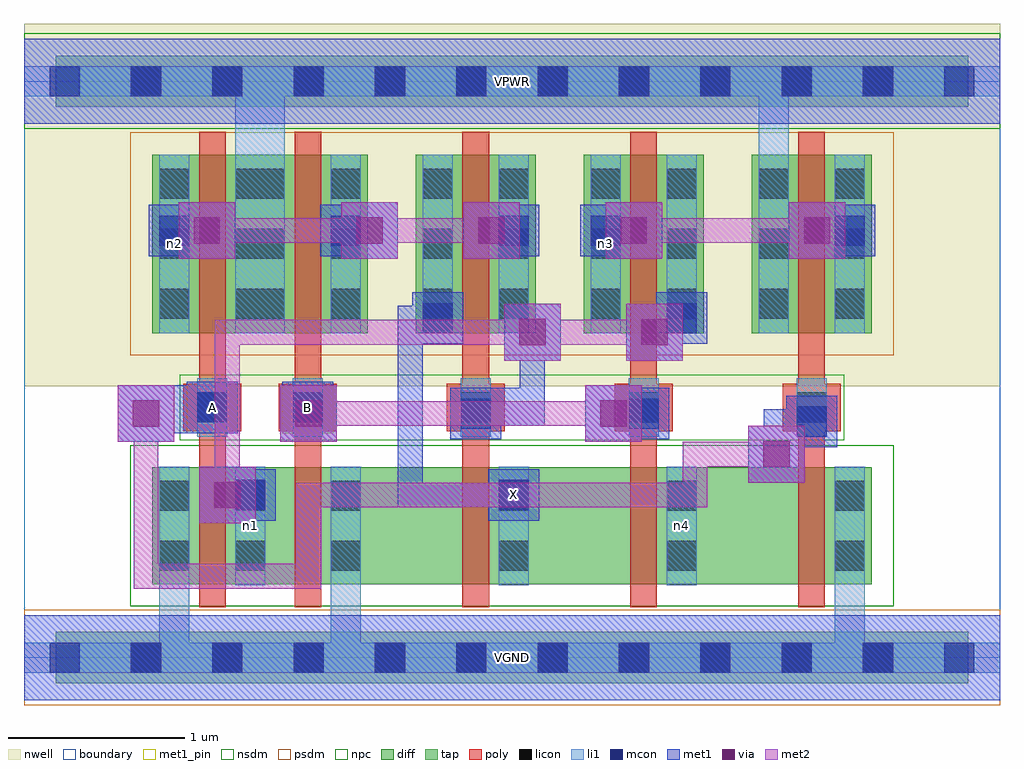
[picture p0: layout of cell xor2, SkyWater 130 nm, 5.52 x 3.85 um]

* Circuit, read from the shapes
.subckt xor2 A B VGND VPWR X n1 n2 n3 n4
XM1 n1 A VGND VGND sky130_fd_pr__nfet_01v8 w=0.66 l=0.15
XM2 VGND B n1 VGND sky130_fd_pr__nfet_01v8 w=0.66 l=0.15
XM3 X n1 VGND VGND sky130_fd_pr__nfet_01v8 w=0.66 l=0.15
XM4 n4 B X VGND sky130_fd_pr__nfet_01v8 w=0.66 l=0.15
XM5 VGND A n4 VGND sky130_fd_pr__nfet_01v8 w=0.66 l=0.15
XM6 VPWR A n2 VPWR sky130_fd_pr__pfet_01v8 w=1.01 l=0.15
XM7 n2 B VPWR VPWR sky130_fd_pr__pfet_01v8 w=1.01 l=0.15
XM8 n2 n1 X VPWR sky130_fd_pr__pfet_01v8 w=1.01 l=0.15
XM9 n1 B n3 VPWR sky130_fd_pr__pfet_01v8 w=1.01 l=0.15
XM10 n3 A VPWR VPWR sky130_fd_pr__pfet_01v8 w=1.01 l=0.15
.ends

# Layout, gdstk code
import gdstk
lib = gdstk.Library(unit=1e-6, precision=1e-09)
def R(c, l, rs):  # rectangles x0, y0, x1, y1
    for r in rs: c.add(gdstk.rectangle(r[:2], r[2:], *l))
def A(c, l, x, y, w, h, nx, ny, dx, dy):  # array of equal rectangles
    R(c, l, [(x+i*dx, y+j*dy, x+i*dx+w, y+j*dy+h) for i in range(nx) for j in range(ny)])
nwell = (64, 20)
diff = (65, 20)
tap = (65, 44)
poly = (66, 20)
licon = (66, 44)
li1 = (67, 20)
mcon = (67, 44)
met1_pin = (68, 16)
met1 = (68, 20)
via = (68, 44)
met2 = (69, 20)
nsdm = (93, 44)
psdm = (94, 20)
npc = (95, 20)
boundary = (235, 4)

xor2 = lib.new_cell('xor2')
R(xor2, nwell, [(0,1.535,5.52,3.585)])
A(xor2, diff, 1.265, 1.835, 0.68, 1.01, 4, 1, 0.95, 0)
R(xor2, diff, [(0.725,0.415,4.795,1.075), (0.725,1.835,1.405,2.845)])
R(xor2, tap, [(0.18,-0.145,5.34,0.145), (0.18,3.115,5.34,3.405)])
A(xor2, poly, 1.53, 0.285, 0.15, 2.69, 4, 1, 0.95, 0)
A(xor2, poly, 1.44, 1.28, 0.33, 0.27, 4, 1, 0.95, 0)
R(xor2, poly, [(0.99,0.285,1.14,2.975), (0.9,1.28,1.23,1.55)])
A(xor2, licon, 0.605, -0.085, 0.17, 0.17, 10, 2, 0.46, 3.26)
A(xor2, licon, 1.735, 0.49, 0.17, 0.17, 4, 2, 0.95, 0.34)
A(xor2, licon, 1.52, 1.33, 0.17, 0.17, 4, 1, 0.95, 0)
A(xor2, licon, 0.765, 1.915, 0.17, 0.17, 1, 3, 0, 0.34)
A(xor2, licon, 1.195, 1.915, 0.17, 0.17, 1, 3, 0, 0.34)
A(xor2, licon, 1.305, 1.915, 0.17, 0.17, 1, 3, 0, 0.34)
A(xor2, licon, 1.735, 1.915, 0.17, 0.17, 1, 3, 0, 0.34)
A(xor2, licon, 2.255, 1.915, 0.17, 0.17, 1, 3, 0, 0.34)
A(xor2, licon, 2.685, 1.915, 0.17, 0.17, 1, 3, 0, 0.34)
A(xor2, licon, 3.205, 1.915, 0.17, 0.17, 1, 3, 0, 0.34)
A(xor2, licon, 3.635, 1.915, 0.17, 0.17, 1, 3, 0, 0.34)
A(xor2, licon, 4.155, 1.915, 0.17, 0.17, 1, 3, 0, 0.34)
A(xor2, licon, 4.585, 1.915, 0.17, 0.17, 1, 3, 0, 0.34)
R(xor2, licon, [(0.765,0.49,0.935,0.66), (1.195,0.49,1.365,0.66), (0.765,0.83,0.935,1), (1.195,0.83,1.365,1), (0.98,1.33,1.15,1.5)])
A(xor2, li1, 1.735, 0.41, 0.17, 0.67, 4, 1, 0.95, 0)
A(xor2, li1, 1.52, 1.25, 0.17, 0.33, 4, 1, 0.95, 0)
R(xor2, li1, [(0,-0.085,5.52,0.085), (0.765,-0.085,0.935,1.08), (1.735,-0.085,1.905,1.08), (4.585,-0.085,4.755,1.08), (0.765,0.41,0.935,1.08), (1.195,0.41,1.365,1.08), (0.98,1.25,1.15,1.58), (0.765,1.835,0.935,2.845), (1.195,1.835,1.365,2.845), (1.195,1.835,1.365,3.345), (1.305,1.835,1.475,2.845), (1.305,1.835,1.475,3.345), (1.735,1.835,1.905,2.845), (2.255,1.835,2.425,2.845), (2.685,1.835,2.855,2.845), (3.205,1.835,3.375,2.845), (3.635,1.835,3.805,2.845), (4.155,1.835,4.325,2.845), (4.155,1.835,4.325,3.345), (4.585,1.835,4.755,2.845), (0,3.175,5.52,3.345)])
A(xor2, mcon, 0.145, -0.085, 0.17, 0.17, 12, 2, 0.46, 3.26)
R(xor2, mcon, [(1.195,0.835,1.365,1.005), (2.685,0.835,2.855,1.005), (4.37,1.25,4.54,1.42), (2.47,1.295,2.64,1.465), (3.42,1.295,3.59,1.465), (0.98,1.33,1.15,1.5), (1.52,1.33,1.69,1.5), (2.255,1.835,2.425,2.005), (3.635,1.835,3.805,2.005), (0.765,2.33,0.935,2.5), (1.735,2.33,1.905,2.5), (2.685,2.33,2.855,2.5), (3.205,2.33,3.375,2.5), (4.585,2.33,4.755,2.5)])
R(xor2, met1_pin, [(0,-0.24,5.52,0.24), (2.625,0.775,2.915,1.065), (0.92,1.27,1.21,1.56), (1.46,1.27,1.75,1.56), (0,3.02,5.52,3.5)])
R(xor2, met1, [(0,-0.24,5.52,0.24), (0.99,0.76,1.31,1.08), (1.135,0.775,1.425,1.065), (2.625,0.775,2.915,1.065), (1.08,0.85,1.35,0.99), (2.115,0.85,2.715,0.99), (2.115,0.85,2.255,1.795), (2.575,0.85,2.84,0.99), (4.095,0.99,4.415,1.31), (4.185,1.08,4.325,1.405), (4.31,1.19,4.6,1.48), (0.53,1.22,0.85,1.54), (1.45,1.22,1.77,1.54), (3.175,1.22,3.495,1.54), (2.41,1.235,2.7,1.525), (3.36,1.235,3.65,1.525), (4.185,1.265,4.525,1.405), (0.85,1.27,0.92,1.54), (0.92,1.27,1.21,1.56), (1.46,1.27,1.75,1.56), (0.62,1.31,1.105,1.45), (0.965,1.31,1.105,1.45), (1.54,1.31,1.68,1.45), (2.485,1.31,2.715,1.45), (2.575,1.31,2.945,1.45), (2.7,1.31,2.805,1.525), (2.805,1.31,2.945,1.91), (3.265,1.31,3.575,1.45), (2.115,1.655,2.255,1.99), (2.715,1.68,3.035,2), (3.405,1.68,3.725,2), (3.495,1.77,3.635,1.99), (2.195,1.775,2.485,2.065), (3.575,1.775,3.865,2.065), (2.115,1.85,2.41,1.99), (3.495,1.85,3.79,1.99), (0.875,2.255,1.195,2.575), (1.795,2.255,2.115,2.575), (2.485,2.255,2.805,2.575), (3.29,2.255,3.61,2.575), (4.325,2.255,4.645,2.575), (0.705,2.27,0.995,2.56), (1.675,2.27,1.965,2.56), (2.625,2.27,2.915,2.56), (3.145,2.27,3.435,2.56), (4.525,2.27,4.815,2.56), (0.78,2.345,1.105,2.485), (1.75,2.345,2.025,2.485), (2.575,2.345,2.84,2.485), (3.22,2.345,3.52,2.485), (4.415,2.345,4.74,2.485), (0,3.02,5.52,3.5)])
R(xor2, via, [(1.075,0.845,1.225,0.995), (4.18,1.075,4.33,1.225), (0.615,1.305,0.765,1.455), (1.535,1.305,1.685,1.455), (3.26,1.305,3.41,1.455), (2.8,1.765,2.95,1.915), (3.49,1.765,3.64,1.915), (0.96,2.34,1.11,2.49), (1.88,2.34,2.03,2.49), (2.57,2.34,2.72,2.49), (3.375,2.34,3.525,2.49), (4.41,2.34,4.56,2.49)])
R(xor2, met2, [(0.62,0.39,0.76,1.45), (0.62,0.39,1.68,0.53), (1.54,0.39,1.68,0.99), (0.99,0.76,1.31,1.08), (1.08,0.85,1.22,1.91), (1.54,0.85,3.865,0.99), (3.725,0.85,3.865,1.22), (4.095,0.99,4.415,1.31), (3.725,1.08,4.325,1.22), (0.53,1.22,0.85,1.54), (1.45,1.22,1.77,1.54), (3.175,1.22,3.495,1.54), (1.54,1.31,3.405,1.45), (2.715,1.68,3.035,2), (3.405,1.68,3.725,2), (1.08,1.77,2.945,1.91), (2.805,1.77,3.635,1.91), (0.875,2.255,1.195,2.575), (1.795,2.255,2.115,2.575), (2.485,2.255,2.805,2.575), (3.29,2.255,3.61,2.575), (4.325,2.255,4.645,2.575), (0.965,2.345,2.025,2.485), (1.885,2.345,2.715,2.485), (3.38,2.345,4.555,2.485)])
R(xor2, nsdm, [(0.6,0.29,4.92,1.2), (0,2.99,5.52,3.53)])
R(xor2, psdm, [(0,-0.27,5.52,0.27), (0.6,1.71,4.92,2.97)])
R(xor2, npc, [(0.88,1.23,4.64,1.6)])
R(xor2, boundary, [(0,0,5.52,3.26)])
xor2.add(gdstk.Label('n1', (1.28,0.745), layer=67, texttype=5))
xor2.add(gdstk.Label('n4', (3.72,0.745), layer=67, texttype=5))
xor2.add(gdstk.Label('n2', (0.85,2.34), layer=67, texttype=5))
xor2.add(gdstk.Label('n3', (3.29,2.34), layer=67, texttype=5))
xor2.add(gdstk.Label('A', (1.065,1.415), layer=68, texttype=5))
xor2.add(gdstk.Label('B', (1.605,1.415), layer=68, texttype=5))
xor2.add(gdstk.Label('X', (2.77,0.92), layer=68, texttype=5))
xor2.add(gdstk.Label('VPWR', (2.76,3.26), layer=68, texttype=5))
xor2.add(gdstk.Label('VGND', (2.76,0), layer=68, texttype=5))
xor2.add(gdstk.Label('A', (1.065,1.415), layer=68, texttype=16))
xor2.add(gdstk.Label('B', (1.605,1.415), layer=68, texttype=16))
xor2.add(gdstk.Label('X', (2.77,0.92), layer=68, texttype=16))
xor2.add(gdstk.Label('VPWR', (2.76,3.26), layer=68, texttype=16))
xor2.add(gdstk.Label('VGND', (2.76,0), layer=68, texttype=16))

lib.write_gds('xor2.gds')
